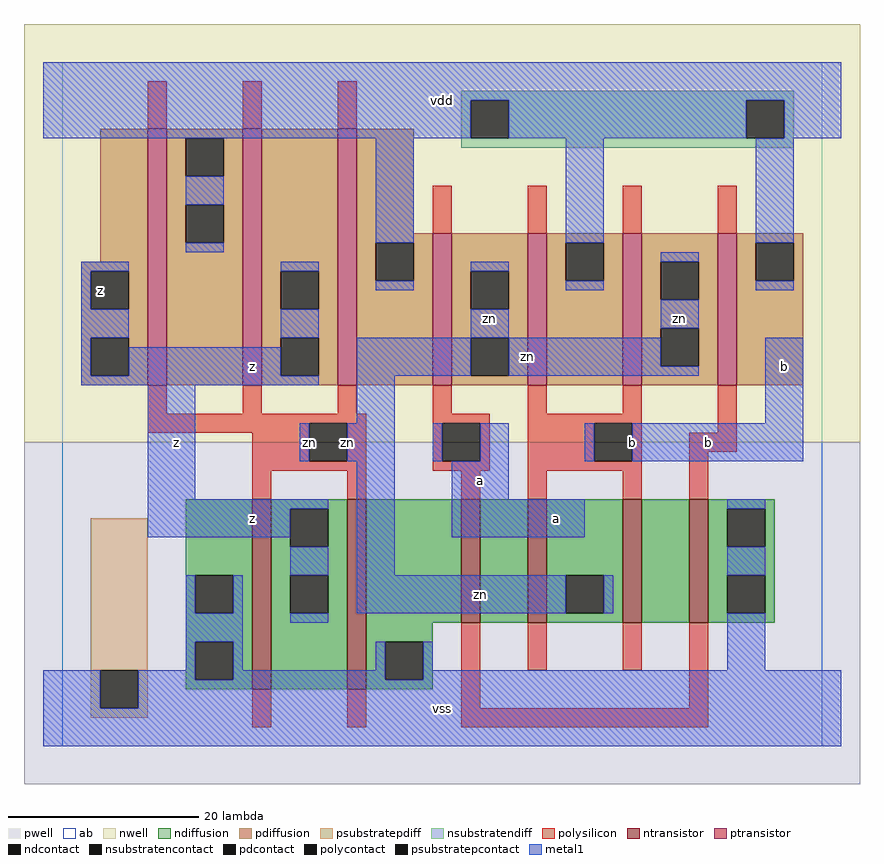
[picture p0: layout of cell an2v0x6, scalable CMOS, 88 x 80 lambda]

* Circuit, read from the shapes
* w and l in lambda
.subckt an2v0x6 a b vdd vss z zn
M1 z zn vss vss nfet w=20 l=2 m=2
M2 n1 a vss vss nfet w=13 l=2
M3 zn b n1 vss nfet w=13 l=2
M4 n2 b zn vss nfet w=13 l=2
M5 vss a n2 vss nfet w=13 l=2
M6 vdd zn z vdd pfet w=27 l=2 m=3
M7 zn a vdd vdd pfet w=16 l=2 m=2
M8 vdd b zn vdd pfet w=16 l=2 m=2
.ends

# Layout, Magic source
magic
tech scmos
<< ab >>
rect 0 0 80 72
<< pwell >>
rect -4 -4 84 32
<< nwell >>
rect -4 32 84 76
<< polysilicon >>
rect 9 65 11 70
rect 19 65 21 70
rect 29 65 31 70
rect 39 54 41 59
rect 49 54 51 59
rect 59 54 61 59
rect 69 54 71 59
rect 9 35 11 38
rect 19 35 21 38
rect 29 35 31 38
rect 39 35 41 38
rect 49 35 51 38
rect 59 35 61 38
rect 9 34 32 35
rect 9 33 26 34
rect 20 30 26 33
rect 30 30 32 34
rect 20 29 32 30
rect 39 34 45 35
rect 39 30 40 34
rect 44 30 45 34
rect 39 29 45 30
rect 49 34 61 35
rect 49 30 56 34
rect 60 30 61 34
rect 69 33 71 38
rect 49 29 61 30
rect 20 26 22 29
rect 30 26 32 29
rect 42 26 44 29
rect 49 26 51 29
rect 59 26 61 29
rect 66 31 71 33
rect 66 26 68 31
rect 20 2 22 6
rect 30 2 32 6
rect 42 4 44 13
rect 49 8 51 13
rect 59 8 61 13
rect 66 4 68 13
rect 42 2 68 4
<< ndiffusion >>
rect 13 18 20 26
rect 13 14 14 18
rect 18 14 20 18
rect 13 11 20 14
rect 13 7 14 11
rect 18 7 20 11
rect 13 6 20 7
rect 22 25 30 26
rect 22 21 24 25
rect 28 21 30 25
rect 22 18 30 21
rect 22 14 24 18
rect 28 14 30 18
rect 22 6 30 14
rect 32 13 42 26
rect 44 13 49 26
rect 51 18 59 26
rect 51 14 53 18
rect 57 14 59 18
rect 51 13 59 14
rect 61 13 66 26
rect 68 25 75 26
rect 68 21 70 25
rect 74 21 75 25
rect 68 18 75 21
rect 68 14 70 18
rect 74 14 75 18
rect 68 13 75 14
rect 32 11 39 13
rect 32 7 34 11
rect 38 7 39 11
rect 32 6 39 7
<< pdiffusion >>
rect 4 51 9 65
rect 2 50 9 51
rect 2 46 3 50
rect 7 46 9 50
rect 2 43 9 46
rect 2 39 3 43
rect 7 39 9 43
rect 2 38 9 39
rect 11 64 19 65
rect 11 60 13 64
rect 17 60 19 64
rect 11 57 19 60
rect 11 53 13 57
rect 17 53 19 57
rect 11 38 19 53
rect 21 50 29 65
rect 21 46 23 50
rect 27 46 29 50
rect 21 43 29 46
rect 21 39 23 43
rect 27 39 29 43
rect 21 38 29 39
rect 31 54 37 65
rect 31 53 39 54
rect 31 49 33 53
rect 37 49 39 53
rect 31 38 39 49
rect 41 50 49 54
rect 41 46 43 50
rect 47 46 49 50
rect 41 43 49 46
rect 41 39 43 43
rect 47 39 49 43
rect 41 38 49 39
rect 51 53 59 54
rect 51 49 53 53
rect 57 49 59 53
rect 51 38 59 49
rect 61 51 69 54
rect 61 47 63 51
rect 67 47 69 51
rect 61 44 69 47
rect 61 40 63 44
rect 67 40 69 44
rect 61 38 69 40
rect 71 53 78 54
rect 71 49 73 53
rect 77 49 78 53
rect 71 38 78 49
<< metal1 >>
rect -2 68 82 72
rect -2 64 43 68
rect 47 64 72 68
rect 76 64 82 68
rect 13 57 17 60
rect 13 52 17 53
rect 33 53 37 64
rect 2 50 7 51
rect 2 46 3 50
rect 2 43 7 46
rect 2 39 3 43
rect 23 50 27 51
rect 53 53 57 64
rect 33 48 37 49
rect 43 50 47 51
rect 23 43 27 46
rect 73 53 77 64
rect 53 48 57 49
rect 63 51 67 52
rect 43 43 47 46
rect 73 48 77 49
rect 63 44 67 47
rect 7 39 23 42
rect 2 38 27 39
rect 31 39 43 43
rect 47 40 63 43
rect 47 39 67 40
rect 9 26 14 38
rect 31 34 35 39
rect 74 34 78 43
rect 25 30 26 34
rect 30 30 35 34
rect 39 30 40 34
rect 44 30 47 34
rect 55 30 56 34
rect 60 30 78 34
rect 9 25 28 26
rect 9 22 24 25
rect 24 18 28 21
rect 13 14 14 18
rect 18 14 19 18
rect 13 11 19 14
rect 31 18 35 30
rect 41 26 47 30
rect 41 22 55 26
rect 70 25 74 26
rect 70 18 74 21
rect 31 14 53 18
rect 57 14 58 18
rect 24 13 28 14
rect 13 8 14 11
rect -2 4 4 8
rect 8 7 14 8
rect 18 8 19 11
rect 33 8 34 11
rect 18 7 34 8
rect 38 8 39 11
rect 70 8 74 14
rect 38 7 82 8
rect 8 4 82 7
rect -2 0 82 4
<< ntransistor >>
rect 20 6 22 26
rect 30 6 32 26
rect 42 13 44 26
rect 49 13 51 26
rect 59 13 61 26
rect 66 13 68 26
<< ptransistor >>
rect 9 38 11 65
rect 19 38 21 65
rect 29 38 31 65
rect 39 38 41 54
rect 49 38 51 54
rect 59 38 61 54
rect 69 38 71 54
<< polycontact >>
rect 26 30 30 34
rect 40 30 44 34
rect 56 30 60 34
<< ndcontact >>
rect 14 14 18 18
rect 14 7 18 11
rect 24 21 28 25
rect 24 14 28 18
rect 53 14 57 18
rect 70 21 74 25
rect 70 14 74 18
rect 34 7 38 11
<< pdcontact >>
rect 3 46 7 50
rect 3 39 7 43
rect 13 60 17 64
rect 13 53 17 57
rect 23 46 27 50
rect 23 39 27 43
rect 33 49 37 53
rect 43 46 47 50
rect 43 39 47 43
rect 53 49 57 53
rect 63 47 67 51
rect 63 40 67 44
rect 73 49 77 53
<< psubstratepcontact >>
rect 4 4 8 8
<< nsubstratencontact >>
rect 43 64 47 68
rect 72 64 76 68
<< psubstratepdiff >>
rect 3 8 9 24
rect 3 4 4 8
rect 8 4 9 8
rect 3 3 9 4
<< nsubstratendiff >>
rect 42 68 77 69
rect 42 64 43 68
rect 47 64 72 68
rect 76 64 77 68
rect 42 63 77 64
<< labels >>
rlabel polysilicon 26 32 26 32 6 zn
rlabel metal1 12 32 12 32 6 z
rlabel pdcontact 4 48 4 48 6 z
rlabel metal1 20 24 20 24 6 z
rlabel metal1 30 32 30 32 6 zn
rlabel metal1 20 40 20 40 6 z
rlabel metal1 40 4 40 4 6 vss
rlabel metal1 44 16 44 16 6 zn
rlabel metal1 44 28 44 28 6 a
rlabel metal1 52 24 52 24 6 a
rlabel metal1 45 45 45 45 6 zn
rlabel metal1 40 68 40 68 6 vdd
rlabel metal1 60 32 60 32 6 b
rlabel metal1 68 32 68 32 6 b
rlabel metal1 76 40 76 40 6 b
rlabel metal1 65 45 65 45 6 zn
rlabel metal1 49 41 49 41 6 zn
<< end >>
